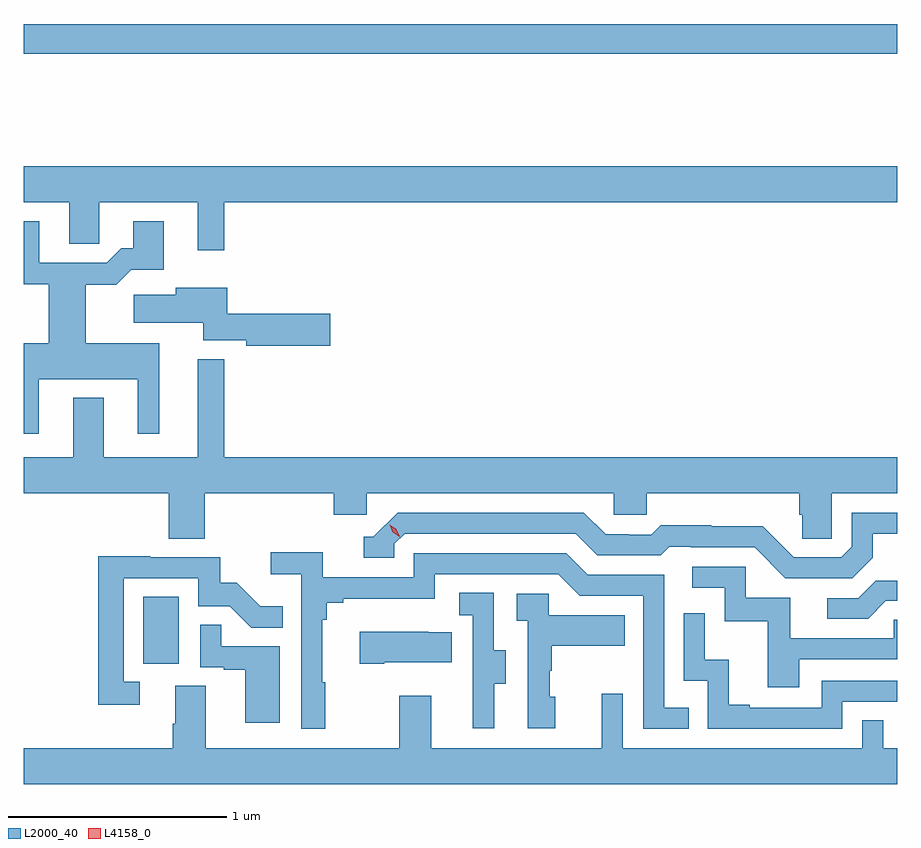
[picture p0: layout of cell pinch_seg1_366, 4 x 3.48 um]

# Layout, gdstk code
import gdstk
lib = gdstk.Library(unit=1e-6, precision=1e-09)
def R(c, l, rs):  # rectangles x0, y0, x1, y1
    for r in rs: c.add(gdstk.rectangle(r[:2], r[2:], *l))
def P(c, l, *ps):  # polygons
    for p in ps: c.add(gdstk.Polygon(p, *l))
L2000_40 = (2000, 40)
L4158_0 = (4158, 0)

pinch_seg1_366 = lib.new_cell('pinch_seg1_366')
R(pinch_seg1_366, L2000_40, [(971.18,537.63,971.344,537.937), (970.633,540.424,974.633,540.56)])
P(pinch_seg1_366, L2000_40, [(971.551,539.744),(974.633,539.744),(974.633,539.908),(970.633,539.908),(970.633,539.744),(970.841,539.744),(970.841,539.554),(970.98,539.554),(970.98,539.744),(971.429,539.744),(971.429,539.523),(971.551,539.523)],
  [(970.702,538.934),(971.156,538.934),(971.156,538.683),(971.254,538.683),(971.254,539.098),(970.918,539.098),(970.918,539.366),(971.057,539.366),(971.126,539.435),(971.275,539.435),(971.275,539.656),(971.135,539.656),(971.135,539.533),(971.08,539.533),(971.013,539.466),(970.705,539.466),(970.705,539.656),(970.633,539.656),(970.633,539.368),(970.748,539.368),(970.748,539.098),(970.633,539.098),(970.633,538.683),(970.702,538.683)],
  [(972.037,539.234),(971.566,539.234),(971.566,539.353),(971.33,539.353),(971.33,539.321),(971.136,539.321),(971.136,539.192),(971.456,539.192),(971.456,539.111),(971.652,539.111),(971.652,539.087),(972.037,539.087)],
  [(971.462,538.412),(972.053,538.412),(972.053,538.314),(972.204,538.314),(972.204,538.412),(973.335,538.412),(973.335,538.314),(973.485,538.314),(973.485,538.412),(974.183,538.412),(974.183,538.314),(974.197,538.314),(974.197,538.204),(974.334,538.204),(974.334,538.412),(974.633,538.412),(974.633,538.576),(971.551,538.576),(971.551,539.026),(971.429,539.026),(971.429,538.576),(970.999,538.576),(970.999,538.849),(970.859,538.849),(970.859,538.576),(970.633,538.576),(970.633,538.412),(971.297,538.412),(971.297,538.204),(971.462,538.204)],
  [(974.521,538.117),(974.521,538.227),(974.633,538.227),(974.633,538.323),(974.424,538.323),(974.424,538.167),(974.376,538.119),(974.16,538.119),(974.018,538.261),(973.782,538.261),(973.782,538.264),(973.549,538.264),(973.507,538.221),(973.404,538.221),(973.404,538.224),(973.297,538.224),(973.198,538.323),(972.345,538.323),(972.234,538.212),(972.191,538.212),(972.191,538.116),(972.33,538.116),(972.33,538.179),(972.378,538.227),(973.161,538.227),(973.26,538.128),(973.549,538.128),(973.588,538.167),(973.687,538.167),(973.687,538.164),(973.98,538.164),(974.121,538.023),(974.427,538.023)],
  [(972.013,537.545),(972.001,537.545),(972.001,537.833),(972.02,537.833),(972.02,537.91),(972.097,537.91),(972.097,537.929),(972.516,537.929),(972.516,538.041),(973.08,538.041),(973.179,537.942),(973.47,537.942),(973.47,537.333),(973.679,537.333),(973.679,537.429),(973.566,537.429),(973.566,538.038),(973.216,538.038),(973.117,538.137),(972.42,538.137),(972.42,538.026),(972.002,538.026),(972.002,538.142),(971.763,538.142),(971.763,538.04),(971.904,538.04),(971.904,537.333),(972.013,537.333)],
  [(971.164,537.549),(971.091,537.549),(971.091,538.023),(971.433,538.023),(971.433,537.894),(971.577,537.894),(971.675,537.796),(971.819,537.796),(971.819,537.895),(971.715,537.895),(971.608,538.002),(971.532,538.002),(971.532,538.119),(971.213,538.119),(971.213,538.124),(970.975,538.124),(970.975,537.444),(971.164,537.444)],
  [(974.185,537.651),(974.633,537.651),(974.633,537.831),(974.617,537.831),(974.617,537.747),(974.143,537.747),(974.143,537.933),(973.938,537.933),(973.938,538.074),(973.695,538.074),(973.695,537.978),(973.842,537.978),(973.842,537.825),(974.041,537.825),(974.041,537.522),(974.185,537.522)],
  [(974.581,537.918),(974.633,537.918),(974.633,538.01),(974.534,538.01),(974.454,537.93),(974.313,537.93),(974.313,537.837),(974.5,537.837)],
  [(972.787,537.538),(972.841,537.538),(972.841,537.693),(972.786,537.693),(972.786,537.956),(972.627,537.956),(972.627,537.853),(972.69,537.853),(972.69,537.549),(972.689,537.549),(972.689,537.336),(972.787,537.336)],
  [(973.066,537.48),(973.041,537.48),(973.041,537.599),(973.051,537.599),(973.051,537.713),(973.385,537.713),(973.385,537.853),(973.038,537.853),(973.038,537.951),(972.891,537.951),(972.891,537.827),(972.942,537.827),(972.942,537.336),(973.066,537.336)],
  [(974.382,537.456),(974.633,537.456),(974.633,537.552),(974.286,537.552),(974.286,537.429),(973.957,537.429),(973.957,537.442),(973.862,537.442),(973.862,537.65),(973.752,537.65),(973.752,537.862),(973.656,537.862),(973.656,537.552),(973.764,537.552),(973.764,537.333),(974.382,537.333)],
  [(971.806,537.711),(971.537,537.711),(971.537,537.809),(971.442,537.809),(971.442,537.615),(971.549,537.615),(971.549,537.603),(971.648,537.603),(971.648,537.36),(971.806,537.36)],
  [(972.283,537.638),(972.593,537.638),(972.593,537.775),(972.485,537.775),(972.485,537.778),(972.171,537.778),(972.171,537.631),(972.283,537.631)],
  [(974.633,537.244),(974.568,537.244),(974.568,537.371),(974.472,537.371),(974.472,537.244),(973.377,537.244),(973.377,537.493),(973.28,537.493),(973.28,537.244),(972.499,537.244),(972.499,537.484),(972.352,537.484),(972.352,537.244),(971.467,537.244),(971.467,537.53),(971.327,537.53),(971.327,537.356),(971.315,537.356),(971.315,537.244),(970.633,537.244),(970.633,537.08),(974.633,537.08)])
P(pinch_seg1_366, L4158_0, [(972.354,538.213),(972.323,538.233),(972.308,538.266),(972.308,538.266),(972.308,538.266),(972.339,538.246),(972.354,538.213),(972.354,538.213)])

lib.write_gds('pinch_seg1_366.gds')
